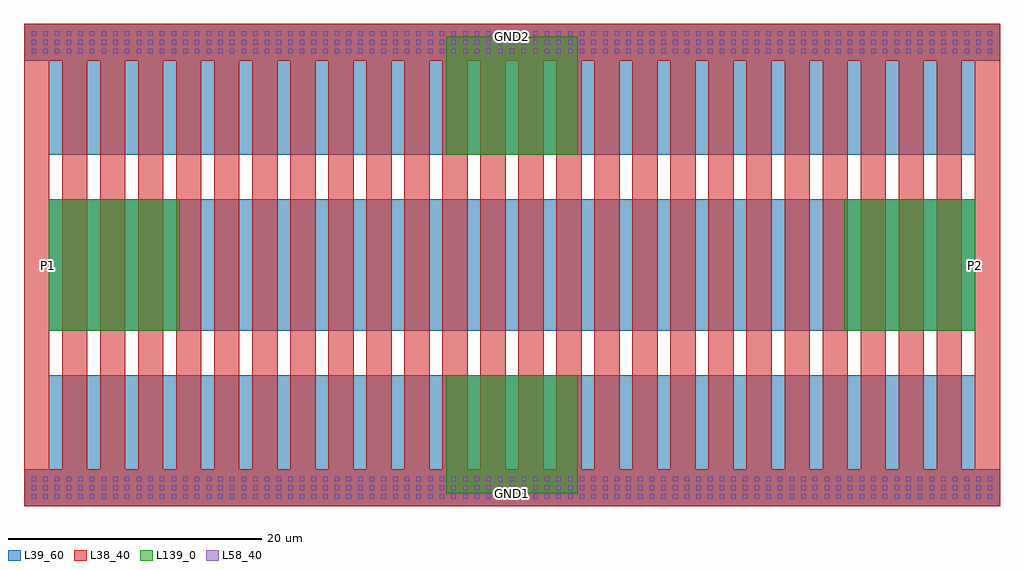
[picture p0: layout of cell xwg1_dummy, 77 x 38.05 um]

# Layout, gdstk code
import gdstk
lib = gdstk.Library(unit=1e-6, precision=1e-09)
def R(c, l, rs):  # rectangles x0, y0, x1, y1
    for r in rs: c.add(gdstk.rectangle(r[:2], r[2:], *l))
def A(c, l, x, y, w, h, nx, ny, dx, dy):  # array of equal rectangles
    R(c, l, [(x+i*dx, y+j*dy, x+i*dx+w, y+j*dy+h) for i in range(nx) for j in range(ny)])
L38_40 = (38, 40)
L39_60 = (39, 60)
L58_40 = (58, 40)
L139_0 = (139, 0)

xwg1_dummy = lib.new_cell('xwg1_dummy')
A(xwg1_dummy, L38_40, -1.945, -13.856, 2, 38.05, 26, 1, 3, 0)
R(xwg1_dummy, L38_40, [(-1.945,-13.856,75.055,-10.956), (-1.945,21.294,75.055,24.194)])
R(xwg1_dummy, L39_60, [(-1.945,-13.856,75.055,-10.956), (0,-12.856,73.11,-3.518), (0,0,73.11,10.338), (0,13.856,73.11,23.194), (-1.945,21.294,75.055,24.194)])
A(xwg1_dummy, L58_40, -1.345, -13.286, 0.36, 0.36, 83, 3, 0.92, 0.7)
A(xwg1_dummy, L58_40, -1.345, 21.864, 0.36, 0.36, 83, 3, 0.92, 0.7)
R(xwg1_dummy, L139_0, [(31.386,-12.856,41.724,-3.518), (0,0,10.338,10.338), (62.772,0,73.11,10.338), (31.386,13.856,41.724,23.194)])
xwg1_dummy.add(gdstk.Label('GND1', (36.555,-12.856), layer=139, texttype=0))
xwg1_dummy.add(gdstk.Label('GND2', (36.555,23.194), layer=139, texttype=0))
xwg1_dummy.add(gdstk.Label('P1', (0,5.169), layer=139, texttype=0))
xwg1_dummy.add(gdstk.Label('P2', (73.11,5.169), layer=139, texttype=0))

lib.write_gds('xwg1_dummy.gds')
